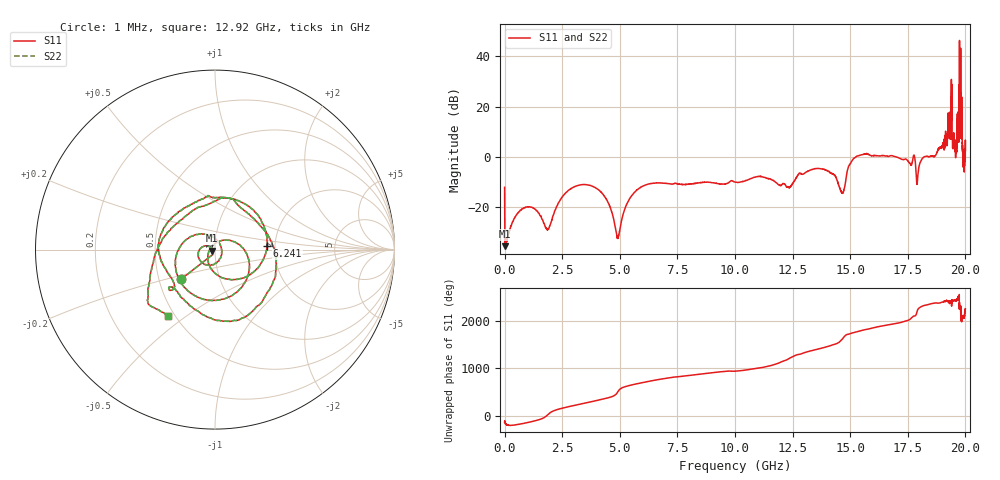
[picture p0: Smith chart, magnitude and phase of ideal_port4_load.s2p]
! Created with skrf (http://scikit-rf.org).
# GHz S RI R 50.0
!freq ReS11 ImS11 ReS21 ImS21 ReS12 ImS12 ReS22 ImS22
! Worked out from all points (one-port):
!   10001 points, 1 MHz to 20 GHz, reference 50 ohm
!   lowest |S11| = -35.4 dB at 29 MHz (marker M1), VSWR 1.03, Z = 48.4 - j0.488 ohm
!   |S11| at or under -10 dB: start of sweep to 8.686 GHz; 8.849 GHz to 9.748 GHz (899.2 MHz wide, 9.67 % of centre); 11.76 GHz to 12.54 GHz (777.5 MHz wide, 6.4 % of centre) (the widest 3 of 16)
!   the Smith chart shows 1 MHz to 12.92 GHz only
!   S11 on the Smith chart (normalised r, x): 1 MHz: 0.65, -0.23; 6.241 GHz: 1.81, +0.07; 12.92 GHz: 0.46, -0.43
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0.001  -0.1885 -0.1645  0 0  0 0  -0.1885 -0.1645
0.0289986  -0.0163 -0.00504  0 0  0 0  -0.0163 -0.00504
3.334833  -0.0975 -0.2646  0 0  0 0  -0.0975 -0.2646
6.240688  0.2896 0.018  0 0  0 0  0.2896 0.018
6.668667  0.2249 0.2069  0 0  0 0  0.2249 0.2069
10.0005  -0.2402 -0.2089  0 0  0 0  -0.2402 -0.2089
12.92235  -0.2606 -0.3724  0 0  0 0  -0.2606 -0.3724
13.33433  0.2536 -0.5027  0 0  0 0  0.2536 -0.5027
15.59022  1.096 0.265  0 0  0 0  1.096 0.265
16.66817  -0.5745 0.855  0 0  0 0  -0.5745 0.855
17.80011  0.6168 -0.7547  0 0  0 0  0.6168 -0.7547
18.85206  -1.122 -1.007  0 0  0 0  -1.122 -1.007
19.14404  -0.5476 -2.4  0 0  0 0  -0.5476 -2.4
19.33003  -3.513 -5.251  0 0  0 0  -3.513 -5.251
19.63402  0.7421 -2.096  0 0  0 0  0.7421 -2.096
19.64202  1.338 -2.401  0 0  0 0  1.338 -2.401
19.64402  1.17 -1.626  0 0  0 0  1.17 -1.626
19.70401  1.091 -2.924  0 0  0 0  1.091 -2.924
19.83601  0.1114 -6.785  0 0  0 0  0.1114 -6.785
19.84601  0.9893 -3.119  0 0  0 0  0.9893 -3.119
19.89601  0.1836 -0.818  0 0  0 0  0.1836 -0.818
20  -0.2452 1.331  0 0  0 0  -0.2452 1.331
